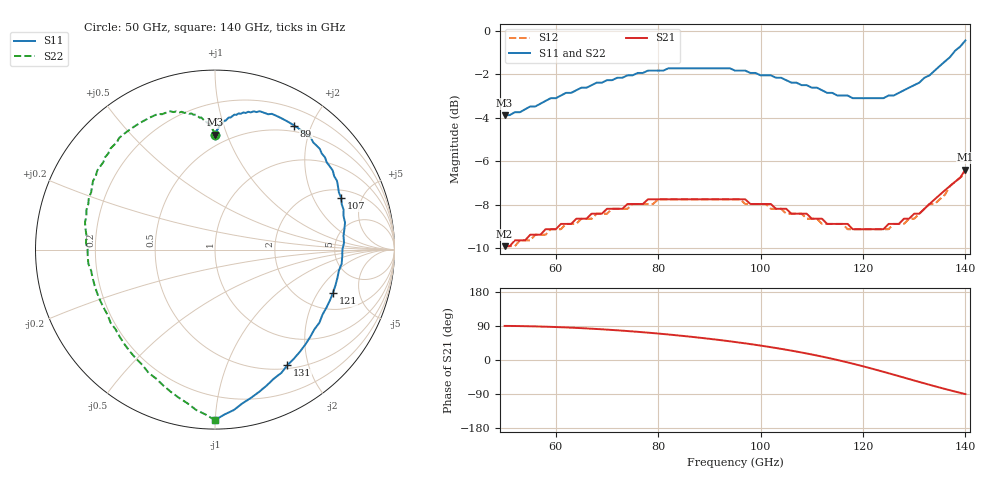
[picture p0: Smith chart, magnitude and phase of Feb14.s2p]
! Downloaded from Microwaves101.com
! AWR Design Environment (5983) Wed Feb 13 11:12:28 2013
! Ports: 2, Freqs: 91
# GHz S MA R 50
!Freq  MagS11  AngS11  MagS21  AngS21  MagS12  AngS12  MagS22  AngS22
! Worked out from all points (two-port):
!   91 points, 50 GHz to 140 GHz, reference 50 ohm
!   highest |S21| = -6.38 dB at 140 GHz (marker M1); lowest = -9.9 dB at 50 GHz (marker M2)
!   |S21| within 3 dB of the highest: 54.98 GHz to end of sweep
!   lowest |S11| = -3.9 dB at 50 GHz (marker M3), VSWR 4.56, Z = 20.9 + j45.4 ohm
!   |S11| at or under -10 dB: nowhere
!   |S22| runs from -3.9 to -0.4 dB; largest |S21 - S12| = 0.72
!   S11 on the Smith chart (normalised r, x): 50 GHz: 0.42, +0.91; 89 GHz: 0.41, +1.75; 107 GHz: 2.47, +3.37; 121 GHz: 2.91, -2.75; 131 GHz: 0.55, -1.67; 140 GHz: 0.05, -1.00
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50  0.64 90.0  0.32 90.0  0.32 90.0  0.64 90.0
58  0.69 87.9  0.35 87.9  0.34 92.1  0.69 92.1
65  0.74 84.0  0.37 84.0  0.37 96.0  0.74 96.0
74  0.79 76.4  0.4 76.4  0.39 103.6  0.79 103.6
80  0.81 69.8  0.41 69.8  0.41 110.2  0.81 110.2
83  0.82 66.0  0.41 66.0  0.41 114.0  0.82 114.0
89  0.82 57.5  0.41 57.5  0.41 122.5  0.82 122.5
95  0.81 47.5  0.41 47.5  0.41 132.5  0.81 132.5
102  0.79 33.8  0.4 33.8  0.39 146.2  0.79 146.2
107  0.76 22.3  0.38 22.3  0.38 157.7  0.76 157.7
110  0.74 14.5  0.37 14.5  0.37 165.5  0.74 165.5
111  0.74 11.8  0.37 11.8  0.37 168.2  0.74 168.2
112  0.73 9.0  0.37 9.0  0.36 171.0  0.73 171.0
116  0.71 -3.1  0.36 -3.1  0.36 -176.9  0.71 -176.9
117  0.71 -6.4  0.36 -6.4  0.35 -173.6  0.71 -173.6
121  0.7 -20.1  0.35 -20.1  0.35 -159.9  0.7 -159.9
125  0.71 -34.9  0.36 -34.9  0.35 -145.1  0.71 -145.1
128  0.73 -46.4  0.37 -46.4  0.36 -133.6  0.73 -133.6
131  0.76 -57.9  0.38 -57.9  0.38 -122.1  0.76 -122.1
135  0.83 -72.8  0.42 -72.8  0.41 -107.2  0.83 -107.2
137  0.87 -79.9  0.44 -79.9  0.44 -100.1  0.87 -100.1
140  0.95 -90.0  0.48 -90.0  0.47 -90.0  0.95 -90.0
